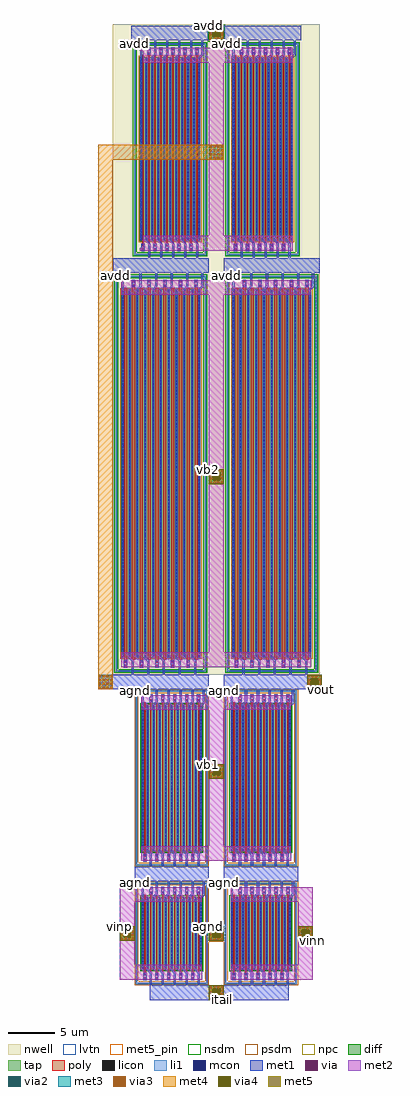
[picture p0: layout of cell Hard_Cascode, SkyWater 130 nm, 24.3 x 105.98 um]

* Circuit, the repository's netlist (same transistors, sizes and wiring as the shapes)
* NGSPICE file created from Hard_Cascode.ext - technology: sky130A

.subckt pfet$2 a_810_0# a_300_0# a b a_1320_0# a_640_0# a_1660_0# a_980_0# a_130_0#
+ a_1150_0# a_470_0# w_n184_n363# a_0_0# a_1490_0#
X0 a_1150_0# a a_980_0# w_n184_n363# sky130_fd_pr__pfet_01v8_lvt ad=10 pd=40.5 as=10 ps=40.5 w=40 l=0.35
X1 a_130_0# a a_0_0# w_n184_n363# sky130_fd_pr__pfet_01v8_lvt ad=10 pd=40.5 as=12 ps=80.6 w=40 l=0.35
X2 a_300_0# b a_130_0# w_n184_n363# sky130_fd_pr__pfet_01v8_lvt ad=10 pd=40.5 as=10 ps=40.5 w=40 l=0.35
X3 a_980_0# b a_810_0# w_n184_n363# sky130_fd_pr__pfet_01v8_lvt ad=10 pd=40.5 as=10 ps=40.5 w=40 l=0.35
X4 a_640_0# b a_470_0# w_n184_n363# sky130_fd_pr__pfet_01v8_lvt ad=10 pd=40.5 as=10 ps=40.5 w=40 l=0.35
X5 a_1320_0# b a_1150_0# w_n184_n363# sky130_fd_pr__pfet_01v8_lvt ad=10 pd=40.5 as=10 ps=40.5 w=40 l=0.35
X6 a_470_0# a a_300_0# w_n184_n363# sky130_fd_pr__pfet_01v8_lvt ad=10 pd=40.5 as=10 ps=40.5 w=40 l=0.35
X7 a_1660_0# b a_1490_0# w_n184_n363# sky130_fd_pr__pfet_01v8_lvt ad=12 pd=80.6 as=10 ps=40.5 w=40 l=0.35
X8 a_810_0# a a_640_0# w_n184_n363# sky130_fd_pr__pfet_01v8_lvt ad=10 pd=40.5 as=10 ps=40.5 w=40 l=0.35
X9 a_1490_0# a a_1320_0# w_n184_n363# sky130_fd_pr__pfet_01v8_lvt ad=10 pd=40.5 as=10 ps=40.5 w=40 l=0.35
.ends

.subckt nfet$1 a_90_0# a_480_0# a_1130_0# a b a_1260_0# a_610_0# a_n123_n302# a_220_0#
+ a_740_0# a_350_0# a_0_0# a_1000_0# a_870_0#
X0 a_740_0# b a_610_0# a_n123_n302# sky130_fd_pr__nfet_01v8_lvt ad=4 pd=16.5 as=4 ps=16.5 w=16 l=0.15
X1 a_90_0# a a_0_0# a_n123_n302# sky130_fd_pr__nfet_01v8_lvt ad=4 pd=16.5 as=4.8 ps=32.6 w=16 l=0.15
X2 a_870_0# a a_740_0# a_n123_n302# sky130_fd_pr__nfet_01v8_lvt ad=4 pd=16.5 as=4 ps=16.5 w=16 l=0.15
X3 a_1000_0# b a_870_0# a_n123_n302# sky130_fd_pr__nfet_01v8_lvt ad=4 pd=16.5 as=4 ps=16.5 w=16 l=0.15
X4 a_350_0# a a_220_0# a_n123_n302# sky130_fd_pr__nfet_01v8_lvt ad=4 pd=16.5 as=4 ps=16.5 w=16 l=0.15
X5 a_480_0# b a_350_0# a_n123_n302# sky130_fd_pr__nfet_01v8_lvt ad=4 pd=16.5 as=4 ps=16.5 w=16 l=0.15
X6 a_610_0# a a_480_0# a_n123_n302# sky130_fd_pr__nfet_01v8_lvt ad=4 pd=16.5 as=4 ps=16.5 w=16 l=0.15
X7 a_1130_0# a a_1000_0# a_n123_n302# sky130_fd_pr__nfet_01v8_lvt ad=4 pd=16.5 as=4 ps=16.5 w=16 l=0.15
X8 a_1260_0# b a_1130_0# a_n123_n302# sky130_fd_pr__nfet_01v8_lvt ad=4.8 pd=32.6 as=4 ps=16.5 w=16 l=0.15
X9 a_220_0# b a_90_0# a_n123_n302# sky130_fd_pr__nfet_01v8_lvt ad=4 pd=16.5 as=4 ps=16.5 w=16 l=0.15
.ends

.subckt nfet a_90_0# a_480_0# a_1130_0# a b a_1260_0# a_610_0# a_n123_n302# a_220_0#
+ a_740_0# a_350_0# a_0_0# a_1000_0# a_870_0#
X0 a_90_0# a a_0_0# a_n123_n302# sky130_fd_pr__nfet_01v8 ad=2 pd=8.5 as=2.4 ps=16.6 w=8 l=0.15
X1 a_740_0# b a_610_0# a_n123_n302# sky130_fd_pr__nfet_01v8 ad=2 pd=8.5 as=2 ps=8.5 w=8 l=0.15
X2 a_870_0# a a_740_0# a_n123_n302# sky130_fd_pr__nfet_01v8 ad=2 pd=8.5 as=2 ps=8.5 w=8 l=0.15
X3 a_1000_0# b a_870_0# a_n123_n302# sky130_fd_pr__nfet_01v8 ad=2 pd=8.5 as=2 ps=8.5 w=8 l=0.15
X4 a_350_0# a a_220_0# a_n123_n302# sky130_fd_pr__nfet_01v8 ad=2 pd=8.5 as=2 ps=8.5 w=8 l=0.15
X5 a_480_0# b a_350_0# a_n123_n302# sky130_fd_pr__nfet_01v8 ad=2 pd=8.5 as=2 ps=8.5 w=8 l=0.15
X6 a_610_0# a a_480_0# a_n123_n302# sky130_fd_pr__nfet_01v8 ad=2 pd=8.5 as=2 ps=8.5 w=8 l=0.15
X7 a_1130_0# a a_1000_0# a_n123_n302# sky130_fd_pr__nfet_01v8 ad=2 pd=8.5 as=2 ps=8.5 w=8 l=0.15
X8 a_1260_0# b a_1130_0# a_n123_n302# sky130_fd_pr__nfet_01v8 ad=2.4 pd=16.6 as=2 ps=8.5 w=8 l=0.15
X9 a_220_0# b a_90_0# a_n123_n302# sky130_fd_pr__nfet_01v8 ad=2 pd=8.5 as=2 ps=8.5 w=8 l=0.15
.ends

.subckt pfet$1 a_90_0# a_480_0# a_1130_0# a b a_1260_0# a_610_0# a_220_0# a_740_0#
+ w_n184_n363# a_350_0# a_0_0# a_1000_0# a_870_0#
X0 a_90_0# a a_0_0# w_n184_n363# sky130_fd_pr__pfet_01v8 ad=5 pd=20.5 as=6 ps=40.6 w=20 l=0.15
X1 a_740_0# b a_610_0# w_n184_n363# sky130_fd_pr__pfet_01v8 ad=5 pd=20.5 as=5 ps=20.5 w=20 l=0.15
X2 a_870_0# a a_740_0# w_n184_n363# sky130_fd_pr__pfet_01v8 ad=5 pd=20.5 as=5 ps=20.5 w=20 l=0.15
X3 a_1000_0# b a_870_0# w_n184_n363# sky130_fd_pr__pfet_01v8 ad=5 pd=20.5 as=5 ps=20.5 w=20 l=0.15
X4 a_350_0# a a_220_0# w_n184_n363# sky130_fd_pr__pfet_01v8 ad=5 pd=20.5 as=5 ps=20.5 w=20 l=0.15
X5 a_480_0# b a_350_0# w_n184_n363# sky130_fd_pr__pfet_01v8 ad=5 pd=20.5 as=5 ps=20.5 w=20 l=0.15
X6 a_610_0# a a_480_0# w_n184_n363# sky130_fd_pr__pfet_01v8 ad=5 pd=20.5 as=5 ps=20.5 w=20 l=0.15
X7 a_1130_0# a a_1000_0# w_n184_n363# sky130_fd_pr__pfet_01v8 ad=5 pd=20.5 as=5 ps=20.5 w=20 l=0.15
X8 a_1260_0# b a_1130_0# w_n184_n363# sky130_fd_pr__pfet_01v8 ad=6 pd=40.6 as=5 ps=20.5 w=20 l=0.15
X9 a_220_0# b a_90_0# w_n184_n363# sky130_fd_pr__pfet_01v8 ad=5 pd=20.5 as=5 ps=20.5 w=20 l=0.15
.ends

.subckt Hard_Cascode vb1 vout vinp vinn vb2 agnd avdd itail
Xpfet$2_0 vout m1_1788_15147# vb2 vb2 m1_1788_15147# m1_1788_15147# m1_1788_15147#
+ m1_1788_15147# vout vout vout avdd m1_1788_15147# vout pfet$2
Xpfet$2_1 pfet$1_1/b m1_n620_15147# vb2 vb2 m1_n620_15147# m1_n620_15147# m1_n620_15147#
+ m1_n620_15147# pfet$1_1/b pfet$1_1/b pfet$1_1/b avdd m1_n620_15147# pfet$1_1/b pfet$2
Xnfet$1_0 m1_n148_1927# pfet$1_1/b m1_n148_1927# vb1 vb1 pfet$1_1/b m1_n148_1927#
+ agnd pfet$1_1/b pfet$1_1/b m1_n148_1927# pfet$1_1/b pfet$1_1/b m1_n148_1927# nfet$1
Xnfet$1_1 m1_1788_1927# vout m1_1788_1927# vb1 vb1 vout m1_1788_1927# agnd vout vout
+ m1_1788_1927# vout vout m1_1788_1927# nfet$1
Xnfet_0 itail m1_n148_1927# itail vinp vinp m1_n148_1927# itail agnd m1_n148_1927#
+ m1_n148_1927# itail m1_n148_1927# m1_n148_1927# itail nfet
Xnfet_1 itail m1_1788_1927# itail vinn vinn m1_1788_1927# itail agnd m1_1788_1927#
+ m1_1788_1927# itail m1_1788_1927# m1_1788_1927# itail nfet
Xpfet$1_0 m1_1788_15147# avdd m1_1788_15147# pfet$1_1/b pfet$1_1/b avdd m1_1788_15147#
+ avdd avdd avdd m1_1788_15147# avdd avdd m1_1788_15147# pfet$1
Xpfet$1_1 m1_n620_15147# avdd m1_n620_15147# pfet$1_1/b pfet$1_1/b avdd m1_n620_15147#
+ avdd avdd avdd m1_n620_15147# avdd avdd m1_n620_15147# pfet$1
.ends

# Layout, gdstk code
import gdstk
lib = gdstk.Library(unit=1e-6, precision=5e-09)
def R(c, l, rs):  # rectangles x0, y0, x1, y1
    for r in rs: c.add(gdstk.rectangle(r[:2], r[2:], *l))
def A(c, l, x, y, w, h, nx, ny, dx, dy):  # array of equal rectangles
    R(c, l, [(x+i*dx, y+j*dy, x+i*dx+w, y+j*dy+h) for i in range(nx) for j in range(ny)])
def P(c, l, *ps):  # polygons
    for p in ps: c.add(gdstk.Polygon(p, *l))
nwell = (64, 20)
diff = (65, 20)
tap = (65, 44)
poly = (66, 20)
licon = (66, 44)
li1 = (67, 20)
mcon = (67, 44)
met1 = (68, 20)
via = (68, 44)
met2 = (69, 20)
via2 = (69, 44)
met3 = (70, 20)
via3 = (70, 44)
met4 = (71, 20)
via4 = (71, 44)
met5_pin = (72, 16)
met5 = (72, 20)
nsdm = (93, 44)
psdm = (94, 20)
npc = (95, 20)
lvtn = (125, 44)

nfet_1 = lib.new_cell('nfet$1')
R(nfet_1, diff, [(0,0,6.6,16)])
P(nfet_1, tap, [(-0.615,-1.51),(-0.615,-1.34),(7.045,-1.34),(7.045,17.34),(-0.445,17.34),(-0.445,-1.34),(-0.615,-1.34),(-0.615,17.51),(7.215,17.51),(7.215,-1.51)])
A(nfet_1, poly, 0.24, -0.53, 0.27, 0.33, 5, 1, 1.3, 0)
A(nfet_1, poly, 0.3, -0.2, 0.15, 16.4, 10, 1, 0.65, 0)
A(nfet_1, poly, 0.89, 16.2, 0.27, 0.33, 5, 1, 1.3, 0)
A(nfet_1, licon, -0.205, -1.51, 0.17, 0.17, 20, 2, 0.36, 18.85)
A(nfet_1, licon, -0.615, -0.905, 0.17, 0.17, 1, 50, 0, 0.36)
A(nfet_1, licon, 7.045, -0.905, 0.17, 0.17, 1, 50, 0, 0.36)
A(nfet_1, licon, 0.29, -0.45, 0.17, 0.17, 5, 1, 1.3, 0)
A(nfet_1, licon, 0.065, 0.175, 0.17, 0.17, 1, 44, 0, 0.36)
A(nfet_1, licon, 0.615, 0.175, 0.17, 0.17, 9, 44, 0.65, 0.36)
A(nfet_1, licon, 6.365, 0.175, 0.17, 0.17, 1, 44, 0, 0.36)
A(nfet_1, licon, 0.94, 16.28, 0.17, 0.17, 5, 1, 1.3, 0)
A(nfet_1, li1, 0.21, -0.45, 0.33, 0.17, 5, 1, 1.3, 0)
A(nfet_1, li1, 0.615, 0.095, 0.17, 15.81, 9, 1, 0.65, 0)
A(nfet_1, li1, 0.86, 16.28, 0.33, 0.17, 5, 1, 1.3, 0)
R(nfet_1, li1, [(0.065,0.095,0.235,15.905), (6.365,0.095,6.535,15.905)])
P(nfet_1, li1, [(-0.615,-1.51),(-0.615,-1.34),(7.045,-1.34),(7.045,17.34),(-0.445,17.34),(-0.445,-1.34),(-0.615,-1.34),(-0.615,17.51),(7.215,17.51),(7.215,-1.51)])
A(nfet_1, mcon, 0.29, -0.45, 0.17, 0.17, 5, 1, 1.3, 0)
A(nfet_1, mcon, 0.065, 0.175, 0.17, 0.17, 1, 44, 0, 0.36)
A(nfet_1, mcon, 0.615, 0.175, 0.17, 0.17, 9, 44, 0.65, 0.36)
A(nfet_1, mcon, 6.365, 0.175, 0.17, 0.17, 1, 44, 0, 0.36)
A(nfet_1, mcon, 0.94, 16.28, 0.17, 0.17, 5, 1, 1.3, 0)
A(nfet_1, met1, 0.19, -1.07, 0.37, 0.82, 5, 1, 1.3, 0)
A(nfet_1, met1, 0.19, -0.48, 0.37, 0.23, 5, 1, 1.3, 0)
A(nfet_1, met1, 0.585, 0.115, 0.23, 15.77, 9, 1, 0.65, 0)
A(nfet_1, met1, 0.84, 16.25, 0.37, 0.23, 5, 1, 1.3, 0)
A(nfet_1, met1, 0.84, 16.25, 0.37, 0.82, 5, 1, 1.3, 0)
R(nfet_1, met1, [(0.035,0.115,0.265,15.885), (6.335,0.115,6.565,15.885)])
A(nfet_1, via, 0.3, -0.92, 0.15, 0.15, 5, 1, 1.3, 0)
A(nfet_1, via, 0.95, 16.77, 0.15, 0.15, 5, 1, 1.3, 0)
R(nfet_1, met2, [(0,-1.01,6.6,-0.68), (0,16.68,6.6,17.01)])
R(nfet_1, nsdm, [(-0.125,-0.125,6.725,16.125)])
P(nfet_1, psdm, [(-0.74,-1.635),(-0.74,-1.215),(6.92,-1.215),(6.92,17.215),(-0.32,17.215),(-0.32,-1.215),(-0.74,-1.215),(-0.74,17.635),(7.34,17.635),(7.34,-1.635)])
A(nfet_1, npc, 0.23, -0.54, 0.29, 0.35, 5, 1, 1.3, 0)
A(nfet_1, npc, 0.88, 16.19, 0.29, 0.35, 5, 1, 1.3, 0)
R(nfet_1, lvtn, [(0.12,-0.18,6.48,16.18)])
nfet_1.add(gdstk.Label('b', (1.025,16.845), layer=68, texttype=5))
nfet_1.add(gdstk.Label('b', (2.325,16.845), layer=68, texttype=5))
nfet_1.add(gdstk.Label('b', (3.625,16.845), layer=68, texttype=5))
nfet_1.add(gdstk.Label('b', (4.925,16.845), layer=68, texttype=5))
nfet_1.add(gdstk.Label('b', (6.225,16.845), layer=68, texttype=5))
nfet_1.add(gdstk.Label('a', (0.375,-0.845), layer=68, texttype=5))
nfet_1.add(gdstk.Label('a', (1.675,-0.845), layer=68, texttype=5))
nfet_1.add(gdstk.Label('a', (2.975,-0.845), layer=68, texttype=5))
nfet_1.add(gdstk.Label('a', (4.275,-0.845), layer=68, texttype=5))
nfet_1.add(gdstk.Label('a', (5.575,-0.845), layer=68, texttype=5))

nfet = lib.new_cell('nfet')
R(nfet, diff, [(0,0,6.6,8)])
P(nfet, tap, [(-0.615,-1.51),(-0.615,-1.34),(7.045,-1.34),(7.045,9.34),(-0.445,9.34),(-0.445,-1.34),(-0.615,-1.34),(-0.615,9.51),(7.215,9.51),(7.215,-1.51)])
A(nfet, poly, 0.24, -0.53, 0.27, 0.33, 5, 1, 1.3, 0)
A(nfet, poly, 0.3, -0.2, 0.15, 8.4, 10, 1, 0.65, 0)
A(nfet, poly, 0.89, 8.2, 0.27, 0.33, 5, 1, 1.3, 0)
A(nfet, licon, -0.205, -1.51, 0.17, 0.17, 20, 2, 0.36, 10.85)
A(nfet, licon, -0.615, -0.945, 0.17, 0.17, 1, 28, 0, 0.36)
A(nfet, licon, 7.045, -0.945, 0.17, 0.17, 1, 28, 0, 0.36)
A(nfet, licon, 0.29, -0.45, 0.17, 0.17, 5, 1, 1.3, 0)
A(nfet, licon, 0.065, 0.135, 0.17, 0.17, 1, 22, 0, 0.36)
A(nfet, licon, 0.615, 0.135, 0.17, 0.17, 9, 22, 0.65, 0.36)
A(nfet, licon, 6.365, 0.135, 0.17, 0.17, 1, 22, 0, 0.36)
A(nfet, licon, 0.94, 8.28, 0.17, 0.17, 5, 1, 1.3, 0)
A(nfet, li1, 0.21, -0.45, 0.33, 0.17, 5, 1, 1.3, 0)
A(nfet, li1, 0.615, 0.055, 0.17, 7.89, 9, 1, 0.65, 0)
A(nfet, li1, 0.86, 8.28, 0.33, 0.17, 5, 1, 1.3, 0)
R(nfet, li1, [(0.065,0.055,0.235,7.945), (6.365,0.055,6.535,7.945)])
P(nfet, li1, [(-0.615,-1.51),(-0.615,-1.34),(7.045,-1.34),(7.045,9.34),(-0.445,9.34),(-0.445,-1.34),(-0.615,-1.34),(-0.615,9.51),(7.215,9.51),(7.215,-1.51)])
A(nfet, mcon, 0.29, -0.45, 0.17, 0.17, 5, 1, 1.3, 0)
A(nfet, mcon, 0.065, 0.135, 0.17, 0.17, 1, 22, 0, 0.36)
A(nfet, mcon, 0.615, 0.135, 0.17, 0.17, 9, 22, 0.65, 0.36)
A(nfet, mcon, 6.365, 0.135, 0.17, 0.17, 1, 22, 0, 0.36)
A(nfet, mcon, 0.94, 8.28, 0.17, 0.17, 5, 1, 1.3, 0)
A(nfet, met1, 0.19, -1.07, 0.37, 0.82, 5, 1, 1.3, 0)
A(nfet, met1, 0.19, -0.48, 0.37, 0.23, 5, 1, 1.3, 0)
A(nfet, met1, 0.585, 0.075, 0.23, 7.85, 9, 1, 0.65, 0)
A(nfet, met1, 0.84, 8.25, 0.37, 0.23, 5, 1, 1.3, 0)
A(nfet, met1, 0.84, 8.25, 0.37, 0.82, 5, 1, 1.3, 0)
R(nfet, met1, [(0.035,0.075,0.265,7.925), (6.335,0.075,6.565,7.925)])
A(nfet, via, 0.3, -0.92, 0.15, 0.15, 5, 1, 1.3, 0)
A(nfet, via, 0.95, 8.77, 0.15, 0.15, 5, 1, 1.3, 0)
R(nfet, met2, [(0,-1.01,6.6,-0.68), (0,8.68,6.6,9.01)])
R(nfet, nsdm, [(-0.125,-0.125,6.725,8.125)])
P(nfet, psdm, [(-0.74,-1.635),(-0.74,-1.215),(6.92,-1.215),(6.92,9.215),(-0.32,9.215),(-0.32,-1.215),(-0.74,-1.215),(-0.74,9.635),(7.34,9.635),(7.34,-1.635)])
A(nfet, npc, 0.23, -0.54, 0.29, 0.35, 5, 1, 1.3, 0)
A(nfet, npc, 0.88, 8.19, 0.29, 0.35, 5, 1, 1.3, 0)
nfet.add(gdstk.Label('b', (1.025,8.845), layer=68, texttype=5))
nfet.add(gdstk.Label('b', (2.325,8.845), layer=68, texttype=5))
nfet.add(gdstk.Label('b', (3.625,8.845), layer=68, texttype=5))
nfet.add(gdstk.Label('b', (4.925,8.845), layer=68, texttype=5))
nfet.add(gdstk.Label('b', (6.225,8.845), layer=68, texttype=5))
nfet.add(gdstk.Label('a', (0.375,-0.845), layer=68, texttype=5))
nfet.add(gdstk.Label('a', (1.675,-0.845), layer=68, texttype=5))
nfet.add(gdstk.Label('a', (2.975,-0.845), layer=68, texttype=5))
nfet.add(gdstk.Label('a', (4.275,-0.845), layer=68, texttype=5))
nfet.add(gdstk.Label('a', (5.575,-0.845), layer=68, texttype=5))

pfet_1 = lib.new_cell('pfet$1')
R(pfet_1, nwell, [(-0.92,-1.815,7.52,21.815)])
R(pfet_1, diff, [(0,0,6.6,20)])
P(pfet_1, tap, [(-0.615,-1.51),(-0.615,-1.34),(7.045,-1.34),(7.045,21.34),(-0.445,21.34),(-0.445,-1.34),(-0.615,-1.34),(-0.615,21.51),(7.215,21.51),(7.215,-1.51)])
A(pfet_1, poly, 0.24, -0.53, 0.27, 0.33, 5, 1, 1.3, 0)
A(pfet_1, poly, 0.3, -0.2, 0.15, 20.4, 10, 1, 0.65, 0)
A(pfet_1, poly, 0.89, 20.2, 0.27, 0.33, 5, 1, 1.3, 0)
A(pfet_1, licon, -0.205, -1.51, 0.17, 0.17, 20, 2, 0.36, 22.85)
A(pfet_1, licon, -0.615, -1.245, 0.17, 0.17, 1, 63, 0, 0.36)
A(pfet_1, licon, 7.045, -1.245, 0.17, 0.17, 1, 63, 0, 0.36)
A(pfet_1, licon, 0.29, -0.45, 0.17, 0.17, 5, 1, 1.3, 0)
A(pfet_1, licon, 0.065, 0.195, 0.17, 0.17, 1, 55, 0, 0.36)
A(pfet_1, licon, 0.615, 0.195, 0.17, 0.17, 9, 55, 0.65, 0.36)
A(pfet_1, licon, 6.365, 0.195, 0.17, 0.17, 1, 55, 0, 0.36)
A(pfet_1, licon, 0.94, 20.28, 0.17, 0.17, 5, 1, 1.3, 0)
A(pfet_1, li1, 0.21, -0.45, 0.33, 0.17, 5, 1, 1.3, 0)
A(pfet_1, li1, 0.615, 0.115, 0.17, 19.77, 9, 1, 0.65, 0)
A(pfet_1, li1, 0.86, 20.28, 0.33, 0.17, 5, 1, 1.3, 0)
R(pfet_1, li1, [(0.065,0.115,0.235,19.885), (6.365,0.115,6.535,19.885)])
P(pfet_1, li1, [(-0.615,-1.51),(-0.615,-1.34),(7.045,-1.34),(7.045,21.34),(-0.445,21.34),(-0.445,-1.34),(-0.615,-1.34),(-0.615,21.51),(7.215,21.51),(7.215,-1.51)])
A(pfet_1, mcon, 0.29, -0.45, 0.17, 0.17, 5, 1, 1.3, 0)
A(pfet_1, mcon, 0.065, 0.195, 0.17, 0.17, 1, 55, 0, 0.36)
A(pfet_1, mcon, 0.615, 0.195, 0.17, 0.17, 9, 55, 0.65, 0.36)
A(pfet_1, mcon, 6.365, 0.195, 0.17, 0.17, 1, 55, 0, 0.36)
A(pfet_1, mcon, 0.94, 20.28, 0.17, 0.17, 5, 1, 1.3, 0)
A(pfet_1, met1, 0.19, -1.07, 0.37, 0.82, 5, 1, 1.3, 0)
A(pfet_1, met1, 0.19, -0.48, 0.37, 0.23, 5, 1, 1.3, 0)
A(pfet_1, met1, 0.585, 0.135, 0.23, 19.73, 9, 1, 0.65, 0)
A(pfet_1, met1, 0.84, 20.25, 0.37, 0.23, 5, 1, 1.3, 0)
A(pfet_1, met1, 0.84, 20.25, 0.37, 0.82, 5, 1, 1.3, 0)
R(pfet_1, met1, [(0.035,0.135,0.265,19.865), (6.335,0.135,6.565,19.865)])
A(pfet_1, via, 0.3, -0.92, 0.15, 0.15, 5, 1, 1.3, 0)
A(pfet_1, via, 0.95, 20.77, 0.15, 0.15, 5, 1, 1.3, 0)
R(pfet_1, met2, [(0,-1.01,6.6,-0.68), (0,20.68,6.6,21.01)])
P(pfet_1, nsdm, [(-0.74,-1.635),(-0.74,-1.215),(6.92,-1.215),(6.92,21.215),(-0.32,21.215),(-0.32,-1.215),(-0.74,-1.215),(-0.74,21.635),(7.34,21.635),(7.34,-1.635)])
R(pfet_1, psdm, [(-0.125,-0.125,6.725,20.125)])
A(pfet_1, npc, 0.23, -0.54, 0.29, 0.35, 5, 1, 1.3, 0)
A(pfet_1, npc, 0.88, 20.19, 0.29, 0.35, 5, 1, 1.3, 0)
pfet_1.add(gdstk.Label('b', (1.025,20.845), layer=68, texttype=5))
pfet_1.add(gdstk.Label('b', (2.325,20.845), layer=68, texttype=5))
pfet_1.add(gdstk.Label('b', (3.625,20.845), layer=68, texttype=5))
pfet_1.add(gdstk.Label('b', (4.925,20.845), layer=68, texttype=5))
pfet_1.add(gdstk.Label('b', (6.225,20.845), layer=68, texttype=5))
pfet_1.add(gdstk.Label('a', (0.375,-0.845), layer=68, texttype=5))
pfet_1.add(gdstk.Label('a', (1.675,-0.845), layer=68, texttype=5))
pfet_1.add(gdstk.Label('a', (2.975,-0.845), layer=68, texttype=5))
pfet_1.add(gdstk.Label('a', (4.275,-0.845), layer=68, texttype=5))
pfet_1.add(gdstk.Label('a', (5.575,-0.845), layer=68, texttype=5))

pfet_2 = lib.new_cell('pfet$2')
R(pfet_2, nwell, [(-0.92,-1.815,9.52,41.815)])
R(pfet_2, diff, [(0,0,8.6,40)])
P(pfet_2, tap, [(-0.615,-1.51),(-0.615,-1.34),(9.045,-1.34),(9.045,41.34),(-0.445,41.34),(-0.445,-1.34),(-0.615,-1.34),(-0.615,41.51),(9.215,41.51),(9.215,-1.51)])
A(pfet_2, poly, 0.3, -0.53, 0.35, 0.33, 5, 1, 1.7, 0)
A(pfet_2, poly, 0.3, -0.2, 0.35, 40.4, 10, 1, 0.85, 0)
A(pfet_2, poly, 1.15, 40.2, 0.35, 0.33, 5, 1, 1.7, 0)
A(pfet_2, licon, -0.105, -1.51, 0.17, 0.17, 25, 2, 0.36, 42.85)
A(pfet_2, licon, -0.615, -1.325, 0.17, 0.17, 1, 119, 0, 0.36)
A(pfet_2, licon, 9.045, -1.325, 0.17, 0.17, 1, 119, 0, 0.36)
A(pfet_2, licon, 0.39, -0.45, 0.17, 0.17, 5, 1, 1.7, 0)
A(pfet_2, licon, 0.065, 0.115, 0.17, 0.17, 1, 111, 0, 0.36)
A(pfet_2, licon, 0.815, 0.115, 0.17, 0.17, 9, 111, 0.85, 0.36)
A(pfet_2, licon, 8.365, 0.115, 0.17, 0.17, 1, 111, 0, 0.36)
A(pfet_2, licon, 1.24, 40.28, 0.17, 0.17, 5, 1, 1.7, 0)
A(pfet_2, li1, 0.31, -0.45, 0.33, 0.17, 5, 1, 1.7, 0)
A(pfet_2, li1, 0.815, 0.035, 0.17, 39.93, 9, 1, 0.85, 0)
A(pfet_2, li1, 1.16, 40.28, 0.33, 0.17, 5, 1, 1.7, 0)
R(pfet_2, li1, [(0.065,0.035,0.235,39.965), (8.365,0.035,8.535,39.965)])
P(pfet_2, li1, [(-0.615,-1.51),(-0.615,-1.34),(9.045,-1.34),(9.045,41.34),(-0.445,41.34),(-0.445,-1.34),(-0.615,-1.34),(-0.615,41.51),(9.215,41.51),(9.215,-1.51)])
A(pfet_2, mcon, 0.39, -0.45, 0.17, 0.17, 5, 1, 1.7, 0)
A(pfet_2, mcon, 0.065, 0.115, 0.17, 0.17, 1, 111, 0, 0.36)
A(pfet_2, mcon, 0.815, 0.115, 0.17, 0.17, 9, 111, 0.85, 0.36)
A(pfet_2, mcon, 8.365, 0.115, 0.17, 0.17, 1, 111, 0, 0.36)
A(pfet_2, mcon, 1.24, 40.28, 0.17, 0.17, 5, 1, 1.7, 0)
A(pfet_2, met1, 0.29, -1.07, 0.37, 0.82, 5, 1, 1.7, 0)
A(pfet_2, met1, 0.29, -0.48, 0.37, 0.23, 5, 1, 1.7, 0)
A(pfet_2, met1, 0.785, 0.055, 0.23, 39.89, 9, 1, 0.85, 0)
A(pfet_2, met1, 1.14, 40.25, 0.37, 0.23, 5, 1, 1.7, 0)
A(pfet_2, met1, 1.14, 40.25, 0.37, 0.82, 5, 1, 1.7, 0)
R(pfet_2, met1, [(0.035,0.055,0.265,39.945), (8.335,0.055,8.565,39.945)])
A(pfet_2, via, 0.4, -0.92, 0.15, 0.15, 5, 1, 1.7, 0)
A(pfet_2, via, 1.25, 40.77, 0.15, 0.15, 5, 1, 1.7, 0)
R(pfet_2, met2, [(0,-1.01,8.6,-0.68), (0,40.68,8.6,41.01)])
P(pfet_2, nsdm, [(-0.74,-1.635),(-0.74,-1.215),(8.92,-1.215),(8.92,41.215),(-0.32,41.215),(-0.32,-1.215),(-0.74,-1.215),(-0.74,41.635),(9.34,41.635),(9.34,-1.635)])
R(pfet_2, psdm, [(-0.125,-0.125,8.725,40.125)])
A(pfet_2, npc, 0.29, -0.54, 0.37, 0.35, 5, 1, 1.7, 0)
A(pfet_2, npc, 1.14, 40.19, 0.37, 0.35, 5, 1, 1.7, 0)
R(pfet_2, lvtn, [(0.12,-0.18,8.48,40.18)])
pfet_2.add(gdstk.Label('b', (1.325,40.845), layer=68, texttype=5))
pfet_2.add(gdstk.Label('b', (3.025,40.845), layer=68, texttype=5))
pfet_2.add(gdstk.Label('b', (4.725,40.845), layer=68, texttype=5))
pfet_2.add(gdstk.Label('b', (6.425,40.845), layer=68, texttype=5))
pfet_2.add(gdstk.Label('b', (8.125,40.845), layer=68, texttype=5))
pfet_2.add(gdstk.Label('a', (0.475,-0.845), layer=68, texttype=5))
pfet_2.add(gdstk.Label('a', (2.175,-0.845), layer=68, texttype=5))
pfet_2.add(gdstk.Label('a', (3.875,-0.845), layer=68, texttype=5))
pfet_2.add(gdstk.Label('a', (5.575,-0.845), layer=68, texttype=5))
pfet_2.add(gdstk.Label('a', (7.275,-0.845), layer=68, texttype=5))

vias_gen_2 = lib.new_cell('vias_gen$2')
R(vias_gen_2, met1, [(0,0,1.6,1.6)])
A(vias_gen_2, via, 0.085, 0.085, 0.15, 0.15, 5, 5, 0.32, 0.32)
R(vias_gen_2, met2, [(0,0,1.6,1.6)])
A(vias_gen_2, via2, 0.1, 0.1, 0.2, 0.2, 4, 4, 0.4, 0.4)
R(vias_gen_2, met3, [(0,0,1.6,1.6)])
A(vias_gen_2, via3, 0.1, 0.1, 0.2, 0.2, 4, 4, 0.4, 0.4)
R(vias_gen_2, met4, [(0,0,1.6,1.6)])
R(vias_gen_2, via4, [(0.4,0.4,1.2,1.2)])
R(vias_gen_2, met5, [(0,0,1.6,1.6)])

vias_gen_5 = lib.new_cell('vias_gen$5')
R(vias_gen_5, tap, [(0,0,1.6,1.6)])
A(vias_gen_5, licon, 0.205, 0.205, 0.17, 0.17, 4, 4, 0.34, 0.34)
R(vias_gen_5, li1, [(0,0,1.6,1.6)])
A(vias_gen_5, mcon, 0.175, 0.175, 0.17, 0.17, 4, 4, 0.36, 0.36)
R(vias_gen_5, met1, [(0,0,1.6,1.6)])
A(vias_gen_5, via, 0.085, 0.085, 0.15, 0.15, 5, 5, 0.32, 0.32)
R(vias_gen_5, met2, [(0,0,1.6,1.6)])
A(vias_gen_5, via2, 0.1, 0.1, 0.2, 0.2, 4, 4, 0.4, 0.4)
R(vias_gen_5, met3, [(0,0,1.6,1.6)])
A(vias_gen_5, via3, 0.1, 0.1, 0.2, 0.2, 4, 4, 0.4, 0.4)
R(vias_gen_5, met4, [(0,0,1.6,1.6)])
R(vias_gen_5, via4, [(0.4,0.4,1.2,1.2)])
R(vias_gen_5, met5, [(0,0,1.6,1.6)])
R(vias_gen_5, psdm, [(-0.125,-0.125,1.725,1.725)])

vias_gen = lib.new_cell('vias_gen')
R(vias_gen, met1, [(0,0,1.6,1.6)])
A(vias_gen, via, 0.085, 0.085, 0.15, 0.15, 5, 5, 0.32, 0.32)
R(vias_gen, met2, [(0,0,1.6,1.6)])
A(vias_gen, via2, 0.1, 0.1, 0.2, 0.2, 4, 4, 0.4, 0.4)
R(vias_gen, met3, [(0,0,1.6,1.6)])
A(vias_gen, via3, 0.1, 0.1, 0.2, 0.2, 4, 4, 0.4, 0.4)
R(vias_gen, met4, [(0,0,1.6,1.6)])

vias_gen_4 = lib.new_cell('vias_gen$4')
R(vias_gen_4, nwell, [(-0.18,-0.18,1.78,1.78)])
R(vias_gen_4, tap, [(0,0,1.6,1.6)])
A(vias_gen_4, licon, 0.205, 0.205, 0.17, 0.17, 4, 4, 0.34, 0.34)
R(vias_gen_4, li1, [(0,0,1.6,1.6)])
A(vias_gen_4, mcon, 0.175, 0.175, 0.17, 0.17, 4, 4, 0.36, 0.36)
R(vias_gen_4, met1, [(0,0,1.6,1.6)])
A(vias_gen_4, via, 0.085, 0.085, 0.15, 0.15, 5, 5, 0.32, 0.32)
R(vias_gen_4, met2, [(0,0,1.6,1.6)])
A(vias_gen_4, via2, 0.1, 0.1, 0.2, 0.2, 4, 4, 0.4, 0.4)
R(vias_gen_4, met3, [(0,0,1.6,1.6)])
A(vias_gen_4, via3, 0.1, 0.1, 0.2, 0.2, 4, 4, 0.4, 0.4)
R(vias_gen_4, met4, [(0,0,1.6,1.6)])
R(vias_gen_4, via4, [(0.4,0.4,1.2,1.2)])
R(vias_gen_4, met5, [(0,0,1.6,1.6)])
R(vias_gen_4, nsdm, [(-0.125,-0.125,1.725,1.725)])

hard_cascode = lib.new_cell('Hard_Cascode')
R(hard_cascode, nwell, [(-3.1,32.105,19.38,102.745)])
R(hard_cascode, li1, [(7.215,3.2,9.065,4.8)])
R(hard_cascode, met1, [(0.915,-3.235,7.34,-1.635), (8.94,-3.235,16.025,-1.635), (0.035,7.925,0.265,9.875), (9.715,7.925,9.945,9.875), (-0.74,9.635,7.34,11.235), (8.94,9.635,17.02,11.235), (0.035,28.755,0.265,30.705), (9.715,28.755,9.945,30.705), (-3.1,30.505,7.34,32.105), (8.94,30.505,18.005,32.105), (-2.145,73.865,-1.915,75.815), (9.895,73.865,10.125,75.815), (-3.1,75.735,7.34,77.335), (8.94,75.735,19.38,77.335), (-0.145,99.015,0.085,100.965), (9.895,99.015,10.125,100.965), (-1.1,100.965,7.34,102.565), (8.94,100.965,17.38,102.565)])
R(hard_cascode, met2, [(-2.34,-1.01,-0.74,3.2), (-0.74,-1.01,6.6,0.59), (9.68,-1.01,17.02,0.59), (17.02,-1.01,18.62,3.2), (-2.34,4.8,-0.74,9.01), (17.02,4.8,18.62,9.01), (-0.74,7.41,6.6,9.01), (9.68,7.41,17.02,9.01), (0,11.86,16.28,13.46), (7.34,13.46,8.94,28.28), (0,28.28,16.28,29.88), (-2.18,32.91,18.46,34.51), (7.34,34.51,8.94,73.33), (-2.18,73.33,18.46,74.93), (0.18,78.14,16.46,79.74), (7.34,79.74,8.94,98.56), (0.18,98.56,16.46,100.16)])
R(hard_cascode, met4, [(-4.7,32.105,-3.1,89.62), (-3.1,88.02,7.34,89.62)])
A(hard_cascode, met5_pin, -2.34, 3.2, 1.6, 1.6, 3, 1, 9.68, 0)
R(hard_cascode, met5_pin, [(7.34,-3.235,8.94,-1.635), (7.34,20.79,8.94,22.39), (18.005,30.505,19.605,32.105), (7.34,52.79,8.94,54.39), (7.34,100.965,8.94,102.565)])
hard_cascode.add(gdstk.FlexPath([(4.42,79.285),(4.42,79.235),(4.75,78.905),(4.75,77.335)], 0.23, ends="flush", simple_path=True, layer=68, datatype=20))  # met1
hard_cascode.add(gdstk.FlexPath([(5.72,79.285),(5.72,79.235),(6.05,78.905),(6.05,77.335)], 0.23, ends="flush", simple_path=True, layer=68, datatype=20))  # met1
hard_cascode.add(gdstk.FlexPath([(1.82,79.285),(1.82,79.235),(2.15,78.905),(2.15,77.335)], 0.23, ends="flush", simple_path=True, layer=68, datatype=20))  # met1
hard_cascode.add(gdstk.FlexPath([(3.12,79.285),(3.12,79.235),(3.45,78.905),(3.45,77.335)], 0.23, ends="flush", simple_path=True, layer=68, datatype=20))  # met1
hard_cascode.add(gdstk.FlexPath([(0.52,79.285),(0.52,79.235),(0.85,78.905),(0.85,77.335)], 0.23, ends="flush", simple_path=True, layer=68, datatype=20))  # met1
hard_cascode.add(gdstk.FlexPath([(5.07,99.015),(5.07,99.065),(5.4,99.395),(5.4,100.965)], 0.23, ends="flush", simple_path=True, layer=68, datatype=20))  # met1
hard_cascode.add(gdstk.FlexPath([(6.27,99.015),(6.27,99.065),(6.6,99.395),(6.6,100.965)], 0.23, ends="flush", simple_path=True, layer=68, datatype=20))  # met1
hard_cascode.add(gdstk.FlexPath([(2.47,99.015),(2.47,99.065),(2.8,99.395),(2.8,100.965)], 0.23, ends="flush", simple_path=True, layer=68, datatype=20))  # met1
hard_cascode.add(gdstk.FlexPath([(3.77,99.015),(3.77,99.065),(4.1,99.395),(4.1,100.965)], 0.23, ends="flush", simple_path=True, layer=68, datatype=20))  # met1
hard_cascode.add(gdstk.FlexPath([(1.17,99.015),(1.17,99.065),(1.5,99.395),(1.5,100.965)], 0.23, ends="flush", simple_path=True, layer=68, datatype=20))  # met1
hard_cascode.add(gdstk.FlexPath([(14.46,79.285),(14.46,79.235),(14.79,78.905),(14.79,77.335)], 0.23, ends="flush", simple_path=True, layer=68, datatype=20))  # met1
hard_cascode.add(gdstk.FlexPath([(15.76,79.285),(15.76,79.235),(16.09,78.905),(16.09,77.335)], 0.23, ends="flush", simple_path=True, layer=68, datatype=20))  # met1
hard_cascode.add(gdstk.FlexPath([(11.86,79.285),(11.86,79.235),(12.19,78.905),(12.19,77.335)], 0.23, ends="flush", simple_path=True, layer=68, datatype=20))  # met1
hard_cascode.add(gdstk.FlexPath([(13.16,79.285),(13.16,79.235),(13.49,78.905),(13.49,77.335)], 0.23, ends="flush", simple_path=True, layer=68, datatype=20))  # met1
hard_cascode.add(gdstk.FlexPath([(10.56,79.285),(10.56,79.235),(10.89,78.905),(10.89,77.335)], 0.23, ends="flush", simple_path=True, layer=68, datatype=20))  # met1
hard_cascode.add(gdstk.FlexPath([(15.11,99.015),(15.11,99.065),(15.44,99.395),(15.44,100.965)], 0.23, ends="flush", simple_path=True, layer=68, datatype=20))  # met1
hard_cascode.add(gdstk.FlexPath([(16.31,99.015),(16.31,99.065),(16.64,99.395),(16.64,100.965)], 0.23, ends="flush", simple_path=True, layer=68, datatype=20))  # met1
hard_cascode.add(gdstk.FlexPath([(12.51,99.015),(12.51,99.065),(12.84,99.395),(12.84,100.965)], 0.23, ends="flush", simple_path=True, layer=68, datatype=20))  # met1
hard_cascode.add(gdstk.FlexPath([(13.81,99.015),(13.81,99.065),(14.14,99.395),(14.14,100.965)], 0.23, ends="flush", simple_path=True, layer=68, datatype=20))  # met1
hard_cascode.add(gdstk.FlexPath([(11.21,99.015),(11.21,99.065),(11.54,99.395),(11.54,100.965)], 0.23, ends="flush", simple_path=True, layer=68, datatype=20))  # met1
hard_cascode.add(gdstk.FlexPath([(4.6,0.075),(4.6,0.025),(4.93,-0.305),(4.93,-1.875)], 0.23, ends="flush", simple_path=True, layer=68, datatype=20))  # met1
hard_cascode.add(gdstk.FlexPath([(5.9,0.075),(5.9,0.025),(6.23,-0.305),(6.23,-1.875)], 0.23, ends="flush", simple_path=True, layer=68, datatype=20))  # met1
hard_cascode.add(gdstk.FlexPath([(2,0.075),(2,0.025),(2.33,-0.305),(2.33,-1.875)], 0.23, ends="flush", simple_path=True, layer=68, datatype=20))  # met1
hard_cascode.add(gdstk.FlexPath([(3.3,0.075),(3.3,0.025),(3.63,-0.305),(3.63,-1.875)], 0.23, ends="flush", simple_path=True, layer=68, datatype=20))  # met1
hard_cascode.add(gdstk.FlexPath([(0.7,0.075),(0.7,0.025),(1.03,-0.305),(1.03,-1.875)], 0.23, ends="flush", simple_path=True, layer=68, datatype=20))  # met1
hard_cascode.add(gdstk.FlexPath([(5.25,7.925),(5.25,7.975),(5.58,8.305),(5.58,9.875)], 0.23, ends="flush", simple_path=True, layer=68, datatype=20))  # met1
hard_cascode.add(gdstk.FlexPath([(6.45,7.83),(6.45,7.88),(6.78,8.21),(6.78,9.78)], 0.23, ends="flush", simple_path=True, layer=68, datatype=20))  # met1
hard_cascode.add(gdstk.FlexPath([(2.65,7.925),(2.65,7.975),(2.98,8.305),(2.98,9.875)], 0.23, ends="flush", simple_path=True, layer=68, datatype=20))  # met1
hard_cascode.add(gdstk.FlexPath([(3.95,7.925),(3.95,7.975),(4.28,8.305),(4.28,9.875)], 0.23, ends="flush", simple_path=True, layer=68, datatype=20))  # met1
hard_cascode.add(gdstk.FlexPath([(1.35,7.925),(1.35,7.975),(1.68,8.305),(1.68,9.875)], 0.23, ends="flush", simple_path=True, layer=68, datatype=20))  # met1
hard_cascode.add(gdstk.FlexPath([(14.28,0.075),(14.28,0.025),(14.61,-0.305),(14.61,-1.875)], 0.23, ends="flush", simple_path=True, layer=68, datatype=20))  # met1
hard_cascode.add(gdstk.FlexPath([(15.58,0.075),(15.58,0.025),(15.91,-0.305),(15.91,-1.875)], 0.23, ends="flush", simple_path=True, layer=68, datatype=20))  # met1
hard_cascode.add(gdstk.FlexPath([(11.68,0.075),(11.68,0.025),(12.01,-0.305),(12.01,-1.875)], 0.23, ends="flush", simple_path=True, layer=68, datatype=20))  # met1
hard_cascode.add(gdstk.FlexPath([(12.98,0.075),(12.98,0.025),(13.31,-0.305),(13.31,-1.875)], 0.23, ends="flush", simple_path=True, layer=68, datatype=20))  # met1
hard_cascode.add(gdstk.FlexPath([(10.38,0.075),(10.38,0.025),(10.71,-0.305),(10.71,-1.875)], 0.23, ends="flush", simple_path=True, layer=68, datatype=20))  # met1
hard_cascode.add(gdstk.FlexPath([(14.93,7.925),(14.93,7.975),(15.26,8.305),(15.26,9.875)], 0.23, ends="flush", simple_path=True, layer=68, datatype=20))  # met1
hard_cascode.add(gdstk.FlexPath([(16.13,7.83),(16.13,7.88),(16.46,8.21),(16.46,9.78)], 0.23, ends="flush", simple_path=True, layer=68, datatype=20))  # met1
hard_cascode.add(gdstk.FlexPath([(12.33,7.925),(12.33,7.975),(12.66,8.305),(12.66,9.875)], 0.23, ends="flush", simple_path=True, layer=68, datatype=20))  # met1
hard_cascode.add(gdstk.FlexPath([(13.63,7.925),(13.63,7.975),(13.96,8.305),(13.96,9.875)], 0.23, ends="flush", simple_path=True, layer=68, datatype=20))  # met1
hard_cascode.add(gdstk.FlexPath([(11.03,7.925),(11.03,7.975),(11.36,8.305),(11.36,9.875)], 0.23, ends="flush", simple_path=True, layer=68, datatype=20))  # met1
hard_cascode.add(gdstk.FlexPath([(4.6,12.985),(4.6,12.935),(4.93,12.605),(4.93,11.035)], 0.23, ends="flush", simple_path=True, layer=68, datatype=20))  # met1
hard_cascode.add(gdstk.FlexPath([(5.9,12.985),(5.9,12.935),(6.23,12.605),(6.23,11.035)], 0.23, ends="flush", simple_path=True, layer=68, datatype=20))  # met1
hard_cascode.add(gdstk.FlexPath([(2,12.985),(2,12.935),(2.33,12.605),(2.33,11.035)], 0.23, ends="flush", simple_path=True, layer=68, datatype=20))  # met1
hard_cascode.add(gdstk.FlexPath([(3.3,12.985),(3.3,12.935),(3.63,12.605),(3.63,11.035)], 0.23, ends="flush", simple_path=True, layer=68, datatype=20))  # met1
hard_cascode.add(gdstk.FlexPath([(0.7,12.985),(0.7,12.935),(1.03,12.605),(1.03,11.035)], 0.23, ends="flush", simple_path=True, layer=68, datatype=20))  # met1
hard_cascode.add(gdstk.FlexPath([(5.25,28.755),(5.25,28.805),(5.58,29.135),(5.58,30.705)], 0.23, ends="flush", simple_path=True, layer=68, datatype=20))  # met1
hard_cascode.add(gdstk.FlexPath([(6.45,28.66),(6.45,28.71),(6.78,29.04),(6.78,30.61)], 0.23, ends="flush", simple_path=True, layer=68, datatype=20))  # met1
hard_cascode.add(gdstk.FlexPath([(2.65,28.755),(2.65,28.805),(2.98,29.135),(2.98,30.705)], 0.23, ends="flush", simple_path=True, layer=68, datatype=20))  # met1
hard_cascode.add(gdstk.FlexPath([(3.95,28.755),(3.95,28.805),(4.28,29.135),(4.28,30.705)], 0.23, ends="flush", simple_path=True, layer=68, datatype=20))  # met1
hard_cascode.add(gdstk.FlexPath([(1.35,28.755),(1.35,28.805),(1.68,29.135),(1.68,30.705)], 0.23, ends="flush", simple_path=True, layer=68, datatype=20))  # met1
hard_cascode.add(gdstk.FlexPath([(14.28,12.985),(14.28,12.935),(14.61,12.605),(14.61,11.035)], 0.23, ends="flush", simple_path=True, layer=68, datatype=20))  # met1
hard_cascode.add(gdstk.FlexPath([(15.58,12.985),(15.58,12.935),(15.91,12.605),(15.91,11.035)], 0.23, ends="flush", simple_path=True, layer=68, datatype=20))  # met1
hard_cascode.add(gdstk.FlexPath([(11.68,12.985),(11.68,12.935),(12.01,12.605),(12.01,11.035)], 0.23, ends="flush", simple_path=True, layer=68, datatype=20))  # met1
hard_cascode.add(gdstk.FlexPath([(12.98,12.985),(12.98,12.935),(13.31,12.605),(13.31,11.035)], 0.23, ends="flush", simple_path=True, layer=68, datatype=20))  # met1
hard_cascode.add(gdstk.FlexPath([(10.38,12.985),(10.38,12.935),(10.71,12.605),(10.71,11.035)], 0.23, ends="flush", simple_path=True, layer=68, datatype=20))  # met1
hard_cascode.add(gdstk.FlexPath([(14.93,28.755),(14.93,28.805),(15.26,29.135),(15.26,30.705)], 0.23, ends="flush", simple_path=True, layer=68, datatype=20))  # met1
hard_cascode.add(gdstk.FlexPath([(16.13,28.66),(16.13,28.71),(16.46,29.04),(16.46,30.61)], 0.23, ends="flush", simple_path=True, layer=68, datatype=20))  # met1
hard_cascode.add(gdstk.FlexPath([(12.33,28.755),(12.33,28.805),(12.66,29.135),(12.66,30.705)], 0.23, ends="flush", simple_path=True, layer=68, datatype=20))  # met1
hard_cascode.add(gdstk.FlexPath([(13.63,28.755),(13.63,28.805),(13.96,29.135),(13.96,30.705)], 0.23, ends="flush", simple_path=True, layer=68, datatype=20))  # met1
hard_cascode.add(gdstk.FlexPath([(11.03,28.755),(11.03,28.805),(11.36,29.135),(11.36,30.705)], 0.23, ends="flush", simple_path=True, layer=68, datatype=20))  # met1
hard_cascode.add(gdstk.FlexPath([(5.52,33.975),(5.52,33.925),(5.85,33.595),(5.85,32.025)], 0.23, ends="flush", simple_path=True, layer=68, datatype=20))  # met1
hard_cascode.add(gdstk.FlexPath([(3.82,33.975),(3.82,33.925),(4.15,33.595),(4.15,32.025)], 0.23, ends="flush", simple_path=True, layer=68, datatype=20))  # met1
hard_cascode.add(gdstk.FlexPath([(2.12,33.975),(2.12,33.925),(2.45,33.595),(2.45,32.025)], 0.23, ends="flush", simple_path=True, layer=68, datatype=20))  # met1
hard_cascode.add(gdstk.FlexPath([(0.42,33.975),(0.42,33.925),(0.75,33.595),(0.75,32.025)], 0.23, ends="flush", simple_path=True, layer=68, datatype=20))  # met1
hard_cascode.add(gdstk.FlexPath([(-1.28,33.975),(-1.28,33.925),(-0.95,33.595),(-0.95,32.025)], 0.23, ends="flush", simple_path=True, layer=68, datatype=20))  # met1
hard_cascode.add(gdstk.FlexPath([(16.71,73.865),(16.71,73.915),(17.04,74.245),(17.04,75.815)], 0.23, ends="flush", simple_path=True, layer=68, datatype=20))  # met1
hard_cascode.add(gdstk.FlexPath([(18.31,73.865),(18.31,73.915),(18.64,74.245),(18.64,75.815)], 0.23, ends="flush", simple_path=True, layer=68, datatype=20))  # met1
hard_cascode.add(gdstk.FlexPath([(13.31,73.865),(13.31,73.915),(13.64,74.245),(13.64,75.815)], 0.23, ends="flush", simple_path=True, layer=68, datatype=20))  # met1
hard_cascode.add(gdstk.FlexPath([(15.01,73.865),(15.01,73.915),(15.34,74.245),(15.34,75.815)], 0.23, ends="flush", simple_path=True, layer=68, datatype=20))  # met1
hard_cascode.add(gdstk.FlexPath([(11.61,73.865),(11.61,73.915),(11.94,74.245),(11.94,75.815)], 0.23, ends="flush", simple_path=True, layer=68, datatype=20))  # met1
hard_cascode.add(gdstk.FlexPath([(4.67,73.865),(4.67,73.915),(5,74.245),(5,75.815)], 0.23, ends="flush", simple_path=True, layer=68, datatype=20))  # met1
hard_cascode.add(gdstk.FlexPath([(6.27,73.865),(6.27,73.915),(6.6,74.245),(6.6,75.815)], 0.23, ends="flush", simple_path=True, layer=68, datatype=20))  # met1
hard_cascode.add(gdstk.FlexPath([(1.27,73.865),(1.27,73.915),(1.6,74.245),(1.6,75.815)], 0.23, ends="flush", simple_path=True, layer=68, datatype=20))  # met1
hard_cascode.add(gdstk.FlexPath([(2.97,73.865),(2.97,73.915),(3.3,74.245),(3.3,75.815)], 0.23, ends="flush", simple_path=True, layer=68, datatype=20))  # met1
hard_cascode.add(gdstk.FlexPath([(-0.43,73.865),(-0.43,73.915),(-0.1,74.245),(-0.1,75.815)], 0.23, ends="flush", simple_path=True, layer=68, datatype=20))  # met1
hard_cascode.add(gdstk.FlexPath([(17.56,33.975),(17.56,33.925),(17.89,33.595),(17.89,32.025)], 0.23, ends="flush", simple_path=True, layer=68, datatype=20))  # met1
hard_cascode.add(gdstk.FlexPath([(15.86,33.975),(15.86,33.925),(16.19,33.595),(16.19,32.025)], 0.23, ends="flush", simple_path=True, layer=68, datatype=20))  # met1
hard_cascode.add(gdstk.FlexPath([(14.16,33.975),(14.16,33.925),(14.49,33.595),(14.49,32.025)], 0.23, ends="flush", simple_path=True, layer=68, datatype=20))  # met1
hard_cascode.add(gdstk.FlexPath([(12.46,33.975),(12.46,33.925),(12.79,33.595),(12.79,32.025)], 0.23, ends="flush", simple_path=True, layer=68, datatype=20))  # met1
hard_cascode.add(gdstk.FlexPath([(10.76,33.975),(10.76,33.925),(11.09,33.595),(11.09,32.025)], 0.23, ends="flush", simple_path=True, layer=68, datatype=20))  # met1
hard_cascode.add(gdstk.Reference(nfet_1, (9.68,12.87)))
hard_cascode.add(gdstk.Reference(nfet, (9.68,0)))
hard_cascode.add(gdstk.Reference(pfet_1, (-0.18,79.15)))
hard_cascode.add(gdstk.Reference(pfet_1, (9.86,79.15)))
hard_cascode.add(gdstk.Reference(pfet_2, (-2.18,33.92)))
hard_cascode.add(gdstk.Reference(pfet_2, (9.86,33.92)))
hard_cascode.add(gdstk.Reference(vias_gen_2, (18.005,30.505)))
hard_cascode.add(gdstk.Reference(nfet, (0,0)))
hard_cascode.add(gdstk.Reference(nfet_1, (0,12.87)))
hard_cascode.add(gdstk.Reference(vias_gen_2, (7.34,20.79)))
hard_cascode.add(gdstk.Reference(vias_gen_2, (-2.34,3.2)))
hard_cascode.add(gdstk.Reference(vias_gen_2, (17.02,3.2)))
hard_cascode.add(gdstk.Reference(vias_gen_2, (7.34,52.79)))
hard_cascode.add(gdstk.Reference(vias_gen_5, (7.34,3.2)))
hard_cascode.add(gdstk.Reference(vias_gen, (-4.7,30.505)))
hard_cascode.add(gdstk.Reference(vias_gen, (7.34,88.02)))
hard_cascode.add(gdstk.Reference(vias_gen_4, (7.34,100.965)))
hard_cascode.add(gdstk.Reference(vias_gen_2, (7.34,-3.235)))
hard_cascode.add(gdstk.Label('avdd', (-2.795,75.43), layer=67, texttype=20))
hard_cascode.add(gdstk.Label('avdd', (9.245,75.43), layer=67, texttype=20))
hard_cascode.add(gdstk.Label('avdd', (9.245,100.66), layer=67, texttype=20))
hard_cascode.add(gdstk.Label('avdd', (-0.795,100.66), layer=67, texttype=20))
hard_cascode.add(gdstk.Label('agnd', (-0.615,30.38), layer=66, texttype=44))
hard_cascode.add(gdstk.Label('agnd', (9.065,30.38), layer=66, texttype=44))
hard_cascode.add(gdstk.Label('agnd', (9.065,9.51), layer=66, texttype=44))
hard_cascode.add(gdstk.Label('agnd', (-0.615,9.51), layer=66, texttype=44))
hard_cascode.add(gdstk.Label('itail', (8.855,-3.215), layer=72, texttype=20))
hard_cascode.add(gdstk.Label('agnd', (7.34,4.8), layer=72, texttype=20))
hard_cascode.add(gdstk.Label('vinn', (18.62,3.2), layer=72, texttype=20))
hard_cascode.add(gdstk.Label('vb1', (7.34,22.39), layer=72, texttype=20))
hard_cascode.add(gdstk.Label('vinp', (-2.34,4.8), layer=72, texttype=20))
hard_cascode.add(gdstk.Label('vout', (19.605,30.505), layer=72, texttype=20))
hard_cascode.add(gdstk.Label('vb2', (7.34,54.39), layer=72, texttype=20))
hard_cascode.add(gdstk.Label('avdd', (7.34,102.565), layer=72, texttype=20))

lib.write_gds('Hard_Cascode.gds')
